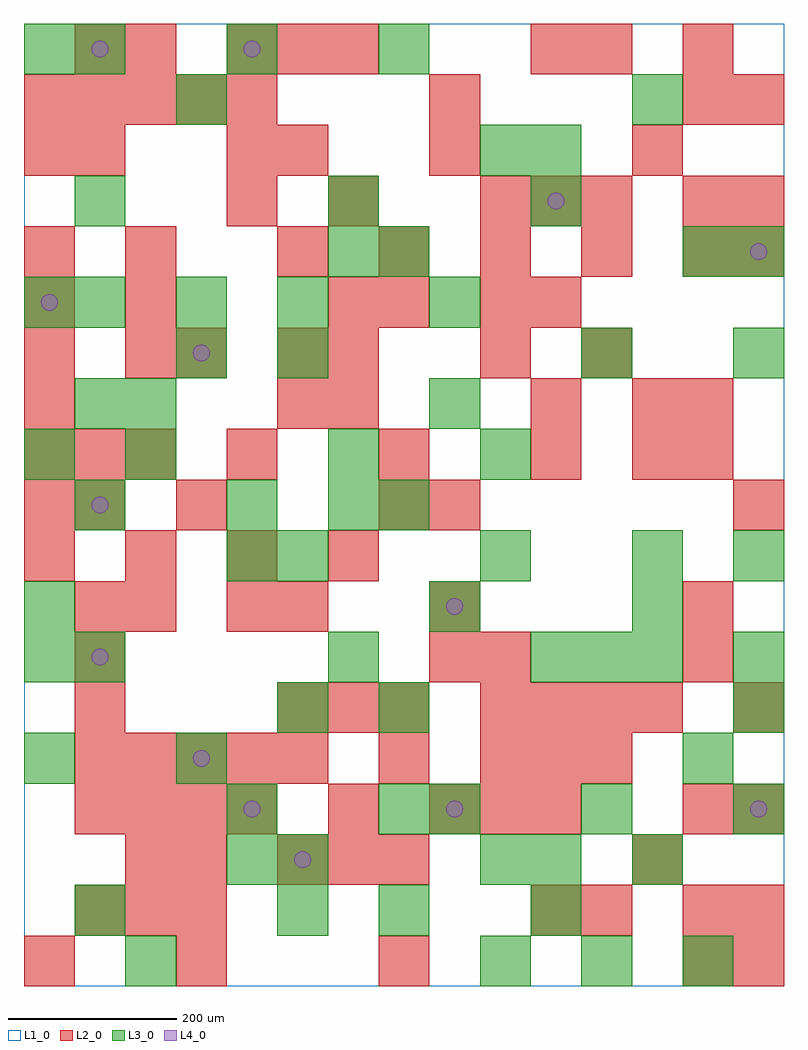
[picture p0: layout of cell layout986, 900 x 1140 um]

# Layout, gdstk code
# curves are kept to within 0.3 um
import gdstk
lib = gdstk.Library(unit=1e-6, precision=1e-09)
def R(c, l, rs):  # rectangles x0, y0, x1, y1
    for r in rs: c.add(gdstk.rectangle(r[:2], r[2:], *l))
def A(c, l, x, y, w, h, nx, ny, dx, dy):  # array of equal rectangles
    R(c, l, [(x+i*dx, y+j*dy, x+i*dx+w, y+j*dy+h) for i in range(nx) for j in range(ny)])
def P(c, l, *ps):  # polygons
    for p in ps: c.add(gdstk.Polygon(p, *l))
L1_0 = (1, 0)
L2_0 = (2, 0)
L3_0 = (3, 0)
L4_0 = (4, 0)

layout986 = lib.new_cell('layout986')
R(layout986, L1_0, [(0,0,900,1140)])
A(layout986, L2_0, 60, 60, 60, 60, 3, 1, 60, 0)
A(layout986, L2_0, 840, 60, 60, 60, 1, 3, 0, 120)
A(layout986, L2_0, 120, 120, 60, 60, 1, 3, 0, 300)
A(layout986, L2_0, 300, 120, 60, 60, 3, 2, 60, 180)
A(layout986, L2_0, 60, 180, 60, 60, 4, 1, 60, 0)
A(layout986, L2_0, 480, 180, 60, 60, 3, 1, 60, 0)
A(layout986, L2_0, 60, 240, 60, 60, 5, 1, 60, 0)
A(layout986, L2_0, 540, 240, 60, 60, 3, 2, 60, 660)
A(layout986, L2_0, 60, 300, 60, 60, 1, 3, 0, 60)
A(layout986, L2_0, 540, 300, 60, 60, 4, 1, 60, 0)
A(layout986, L2_0, 0, 480, 60, 60, 4, 1, 120, 0)
A(layout986, L2_0, 0, 600, 60, 60, 3, 1, 60, 0)
A(layout986, L2_0, 240, 600, 60, 60, 3, 1, 180, 0)
A(layout986, L2_0, 0, 660, 60, 60, 1, 4, 0, 60)
A(layout986, L2_0, 360, 660, 60, 60, 1, 3, 0, 60)
A(layout986, L2_0, 300, 840, 60, 60, 5, 1, 120, 0)
A(layout986, L2_0, 0, 1020, 60, 60, 5, 1, 60, 0)
A(layout986, L2_0, 240, 1080, 60, 60, 3, 1, 60, 0)
R(layout986, L2_0, [(0,0,60,60), (180,0,240,60), (420,0,480,60), (780,0,840,60), (840,0,900,60), (600,60,660,120), (660,60,720,120), (780,60,840,120), (180,120,240,180), (720,120,780,180), (360,180,420,240), (780,180,840,240), (420,240,480,300), (480,360,540,420), (540,360,600,420), (780,360,840,420), (240,420,300,480), (300,420,360,480), (480,420,540,480), (780,420,840,480), (0,540,60,600), (60,540,120,600), (180,540,240,600), (420,540,480,600), (480,540,540,600), (840,540,900,600), (720,600,780,660), (780,600,840,660), (300,660,360,720), (600,660,660,720), (720,660,780,720), (780,660,840,720), (180,720,240,780), (300,720,360,780), (540,720,600,780), (660,720,720,780), (120,780,180,840), (420,780,480,840), (540,780,600,840), (600,780,660,840), (120,840,180,900), (840,840,900,900), (240,900,300,960), (360,900,420,960), (780,900,840,960), (840,900,900,960), (0,960,60,1020), (60,960,120,1020), (240,960,300,1020), (300,960,360,1020), (480,960,540,1020), (720,960,780,1020), (480,1020,540,1080), (780,1020,840,1080), (840,1020,900,1080), (60,1080,120,1140), (120,1080,180,1140), (600,1080,660,1140), (660,1080,720,1140), (780,1080,840,1140)])
A(layout986, L3_0, 540, 0, 60, 60, 3, 1, 120, 0)
A(layout986, L3_0, 420, 60, 60, 60, 1, 3, 0, 120)
A(layout986, L3_0, 300, 120, 60, 60, 1, 3, 0, 180)
A(layout986, L3_0, 480, 180, 60, 60, 3, 1, 180, 0)
A(layout986, L3_0, 600, 360, 60, 60, 3, 1, 60, 0)
A(layout986, L3_0, 0, 420, 60, 60, 1, 3, 0, 180)
A(layout986, L3_0, 60, 780, 60, 60, 3, 1, 120, 0)
A(layout986, L3_0, 60, 1080, 60, 60, 3, 1, 180, 0)
R(layout986, L3_0, [(120,0,180,60), (60,60,120,120), (300,60,360,120), (600,60,660,120), (240,120,300,180), (540,120,600,180), (600,120,660,180), (720,120,780,180), (240,180,300,240), (0,240,60,300), (180,240,240,300), (780,240,840,300), (840,300,900,360), (0,360,60,420), (60,360,120,420), (360,360,420,420), (840,360,900,420), (480,420,540,480), (720,420,780,480), (240,480,300,540), (540,480,600,540), (720,480,780,540), (840,480,900,540), (60,540,120,600), (240,540,300,600), (360,540,420,600), (420,540,480,600), (120,600,180,660), (360,600,420,660), (540,600,600,660), (60,660,120,720), (120,660,180,720), (480,660,540,720), (180,720,240,780), (300,720,360,780), (660,720,720,780), (840,720,900,780), (480,780,540,840), (360,840,420,900), (420,840,480,900), (780,840,840,900), (840,840,900,900), (60,900,120,960), (360,900,420,960), (600,900,660,960), (540,960,600,1020), (600,960,660,1020), (180,1020,240,1080), (720,1020,780,1080), (0,1080,60,1140)])
P(layout986, L4_0, [(40,810),(39.239,813.827),(37.071,817.071),(33.827,819.239),(30,820),(26.173,819.239),(22.929,817.071),(20.761,813.827),(20,810),(20.761,806.173),(22.929,802.929),(26.173,800.761),(30,800),(33.827,800.761),(37.071,802.929),(39.239,806.173)],
  [(100,390),(99.239,393.827),(97.071,397.071),(93.827,399.239),(90,400),(86.173,399.239),(82.929,397.071),(80.761,393.827),(80,390),(80.761,386.173),(82.929,382.929),(86.173,380.761),(90,380),(93.827,380.761),(97.071,382.929),(99.239,386.173)],
  [(100,570),(99.239,573.827),(97.071,577.071),(93.827,579.239),(90,580),(86.173,579.239),(82.929,577.071),(80.761,573.827),(80,570),(80.761,566.173),(82.929,562.929),(86.173,560.761),(90,560),(93.827,560.761),(97.071,562.929),(99.239,566.173)],
  [(100,1110),(99.239,1113.827),(97.071,1117.071),(93.827,1119.239),(90,1120),(86.173,1119.239),(82.929,1117.071),(80.761,1113.827),(80,1110),(80.761,1106.173),(82.929,1102.929),(86.173,1100.761),(90,1100),(93.827,1100.761),(97.071,1102.929),(99.239,1106.173)],
  [(220,270),(219.239,273.827),(217.071,277.071),(213.827,279.239),(210,280),(206.173,279.239),(202.929,277.071),(200.761,273.827),(200,270),(200.761,266.173),(202.929,262.929),(206.173,260.761),(210,260),(213.827,260.761),(217.071,262.929),(219.239,266.173)],
  [(220,750),(219.239,753.827),(217.071,757.071),(213.827,759.239),(210,760),(206.173,759.239),(202.929,757.071),(200.761,753.827),(200,750),(200.761,746.173),(202.929,742.929),(206.173,740.761),(210,740),(213.827,740.761),(217.071,742.929),(219.239,746.173)],
  [(280,210),(279.239,213.827),(277.071,217.071),(273.827,219.239),(270,220),(266.173,219.239),(262.929,217.071),(260.761,213.827),(260,210),(260.761,206.173),(262.929,202.929),(266.173,200.761),(270,200),(273.827,200.761),(277.071,202.929),(279.239,206.173)],
  [(280,1110),(279.239,1113.827),(277.071,1117.071),(273.827,1119.239),(270,1120),(266.173,1119.239),(262.929,1117.071),(260.761,1113.827),(260,1110),(260.761,1106.173),(262.929,1102.929),(266.173,1100.761),(270,1100),(273.827,1100.761),(277.071,1102.929),(279.239,1106.173)],
  [(340,150),(339.239,153.827),(337.071,157.071),(333.827,159.239),(330,160),(326.173,159.239),(322.929,157.071),(320.761,153.827),(320,150),(320.761,146.173),(322.929,142.929),(326.173,140.761),(330,140),(333.827,140.761),(337.071,142.929),(339.239,146.173)],
  [(520,210),(519.239,213.827),(517.071,217.071),(513.827,219.239),(510,220),(506.173,219.239),(502.929,217.071),(500.761,213.827),(500,210),(500.761,206.173),(502.929,202.929),(506.173,200.761),(510,200),(513.827,200.761),(517.071,202.929),(519.239,206.173)],
  [(520,450),(519.239,453.827),(517.071,457.071),(513.827,459.239),(510,460),(506.173,459.239),(502.929,457.071),(500.761,453.827),(500,450),(500.761,446.173),(502.929,442.929),(506.173,440.761),(510,440),(513.827,440.761),(517.071,442.929),(519.239,446.173)],
  [(640,930),(639.239,933.827),(637.071,937.071),(633.827,939.239),(630,940),(626.173,939.239),(622.929,937.071),(620.761,933.827),(620,930),(620.761,926.173),(622.929,922.929),(626.173,920.761),(630,920),(633.827,920.761),(637.071,922.929),(639.239,926.173)],
  [(880,210),(879.239,213.827),(877.071,217.071),(873.827,219.239),(870,220),(866.173,219.239),(862.929,217.071),(860.761,213.827),(860,210),(860.761,206.173),(862.929,202.929),(866.173,200.761),(870,200),(873.827,200.761),(877.071,202.929),(879.239,206.173)],
  [(880,870),(879.239,873.827),(877.071,877.071),(873.827,879.239),(870,880),(866.173,879.239),(862.929,877.071),(860.761,873.827),(860,870),(860.761,866.173),(862.929,862.929),(866.173,860.761),(870,860),(873.827,860.761),(877.071,862.929),(879.239,866.173)])

lib.write_gds('layout986.gds')
